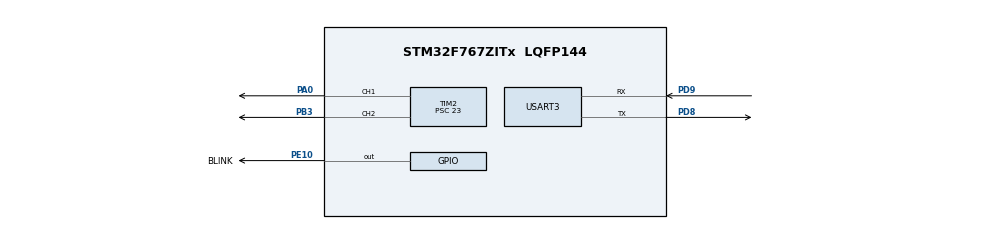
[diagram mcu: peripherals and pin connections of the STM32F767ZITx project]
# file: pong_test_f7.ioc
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Dma.Request0=USART3_RX
Dma.Request1=USART3_TX
Dma.USART3_RX.0.Direction=DMA_PERIPH_TO_MEMORY
Dma.USART3_RX.0.FIFOMode=DMA_FIFOMODE_DISABLE
Dma.USART3_RX.0.Instance=DMA1_Stream1
Dma.USART3_RX.0.MemDataAlignment=DMA_MDATAALIGN_BYTE
Dma.USART3_RX.0.MemInc=DMA_MINC_ENABLE
Dma.USART3_RX.0.Mode=DMA_CIRCULAR
Dma.USART3_RX.0.PeriphDataAlignment=DMA_PDATAALIGN_BYTE
Dma.USART3_RX.0.PeriphInc=DMA_PINC_DISABLE
Dma.USART3_RX.0.Priority=DMA_PRIORITY_VERY_HIGH
Dma.USART3_TX.1.Direction=DMA_MEMORY_TO_PERIPH
Dma.USART3_TX.1.FIFOMode=DMA_FIFOMODE_DISABLE
Dma.USART3_TX.1.Instance=DMA1_Stream3
Dma.USART3_TX.1.MemDataAlignment=DMA_MDATAALIGN_BYTE
Dma.USART3_TX.1.MemInc=DMA_MINC_ENABLE
Dma.USART3_TX.1.Mode=DMA_NORMAL
Dma.USART3_TX.1.PeriphDataAlignment=DMA_PDATAALIGN_BYTE
Dma.USART3_TX.1.PeriphInc=DMA_PINC_DISABLE
Dma.USART3_TX.1.Priority=DMA_PRIORITY_VERY_HIGH
FREERTOS.Tasks01=defaultTask,24,800,StartDefaultTask,Default,NULL,Dynamic,NULL,NULL;lowTask,16,128,StartLowTask,Default,NULL,Dynamic,NULL,NULL;idleTask,8,128,StartIdleTask,Default,NULL,Dynamic,NULL,NULL
FREERTOS.configUSE_NEWLIB_REENTRANT=1
Mcu.Family=STM32F7
Mcu.Name=STM32F767ZITx
Mcu.Package=LQFP144
NVIC.DMA1_Stream1_IRQn=true\:5\:0\:false\:false\:true\:true\:false\:true
NVIC.DMA1_Stream3_IRQn=true\:5\:0\:false\:false\:true\:true\:false\:true
NVIC.PriorityGroup=NVIC_PRIORITYGROUP_4
NVIC.TIM7_IRQn=true\:15\:0\:false\:false\:true\:false\:false\:true
NVIC.TimeBase=TIM7_IRQn
NVIC.TimeBaseIP=TIM7
NVIC.USART3_IRQn=true\:5\:0\:false\:false\:true\:true\:true\:true
PA0/WKUP.Signal=S_TIM2_CH1_ETR
PB3.Signal=S_TIM2_CH2
PD8.Mode=Asynchronous
PD8.Signal=USART3_TX
PD9.Mode=Asynchronous
PD9.Signal=USART3_RX
PE10.GPIO_Label=BLINK
PE10.Signal=GPIO_Output
ProjectManager.HeapSize=0x200
ProjectManager.StackSize=0x400
ProjectManager.TargetToolchain=STM32CubeIDE
RCC.HSE_VALUE=25000000
RCC.HSI_VALUE=16000000
RCC.LSE_VALUE=32768
RCC.USBFreq_Value=96000000
RCC.VCOOutputFreq_Value=192000000
SH.S_TIM2_CH1_ETR.0=TIM2_CH1,PWM Generation1 CH1
SH.S_TIM2_CH2.0=TIM2_CH2,PWM Generation2 CH2
TIM2.Channel-PWM\ Generation1\ CH1=TIM_CHANNEL_1
TIM2.Channel-PWM\ Generation2\ CH2=TIM_CHANNEL_2
TIM2.Period=60000
TIM2.Prescaler=23
TIM2.Pulse-PWM\ Generation1\ CH1=2000
TIM2.Pulse-PWM\ Generation2\ CH2=2000
USART3.VirtualMode-Asynchronous=VM_ASYNC
VP_FREERTOS_VS_CMSIS_V2.Mode=CMSIS_V2
VP_SYS_VS_tim7.Mode=TIM7
VP_TIM2_VS_ClockSourceINT.Mode=Internal
board=custom

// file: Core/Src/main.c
/* USER CODE BEGIN Header */
/**
 ******************************************************************************
 * @file           : main.c
 * @brief          : Main program body
 ******************************************************************************
 * @attention
 *
 * <h2><center>&copy; Copyright (c) 2022 STMicroelectronics.
 * All rights reserved.</center></h2>
 *
 * This software component is licensed by ST under BSD 3-Clause license,
 * the "License"; You may not use this file except in compliance with the
 * License. You may obtain a copy of the License at:
 *                        opensource.org/licenses/BSD-3-Clause
 *
 ******************************************************************************
 */
/* USER CODE END Header */
#include "main.h"

#include "cmsis_os.h"

/* USER CODE BEGIN Includes */
#include <math.h>
#include <rcl/error_handling.h>
#include <rcl/rcl.h>
#include <rclc/executor.h>
#include <rclc/rclc.h>
#include <rmw_microros/rmw_microros.h>
#include <rmw_microxrcedds_c/config.h>
#include <std_msgs/msg/header.h>
#include <stdbool.h>
#include <stdio.h>
#include <string.h>
#include <time.h>
#include <unistd.h>
#include <uxr/client/transport.h>

#include "FreeRTOS.h"
#include "servo.h"
#include "task.h"
/* USER CODE END Includes */

/* USER CODE BEGIN PD */
#define STRING_BUFFER_LEN 50
#define DUTY_MAX 60000
#define FREQ_MS 80

#define RCCHECK(fn)                                                                      \
    {                                                                                    \
        rcl_ret_t temp_rc = fn;                                                          \
        if ((temp_rc != RCL_RET_OK)) {                                                   \
            printf("Failed status on line %d: %d. Aborting.\n", __LINE__, (int)temp_rc); \
            vTaskDelete(NULL);                                                           \
        }                                                                                \
    }
#define RCSOFTCHECK(fn)                                                                    \
    {                                                                                      \
        rcl_ret_t temp_rc = fn;                                                            \
        if ((temp_rc != RCL_RET_OK)) {                                                     \
            printf("Failed status on line %d: %d. Continuing.\n", __LINE__, (int)temp_rc); \
        }                                                                                  \
    }
/* USER CODE END PD */

TIM_HandleTypeDef htim2;

UART_HandleTypeDef huart3;
DMA_HandleTypeDef hdma_usart3_rx;
DMA_HandleTypeDef hdma_usart3_tx;

/* Definitions for defaultTask */
osThreadId_t defaultTaskHandle;
const osThreadAttr_t defaultTask_attributes = {
    .name = "defaultTask",
    .stack_size = 800 * 4,
    .priority = (osPriority_t)osPriorityNormal,
};
/* Definitions for lowTask */
osThreadId_t lowTaskHandle;
const osThreadAttr_t lowTask_attributes = {
    .name = "lowTask",
    .stack_size = 128 * 4,
    .priority = (osPriority_t)osPriorityBelowNormal,
};
/* Definitions for idleTask */
osThreadId_t idleTaskHandle;
const osThreadAttr_t idleTask_attributes = {
    .name = "idleTask",
    .stack_size = 128 * 4,
    .priority = (osPriority_t)osPriorityLow,
};

void SystemClock_Config(void);
static void MX_GPIO_Init(void);
static void MX_DMA_Init(void);
static void MX_USART3_UART_Init(void);
static void MX_TIM2_Init(void);
void StartDefaultTask(void *argument);
void StartLowTask(void *argument);
void StartIdleTask(void *argument);

/* USER CODE BEGIN 0 */
/*
int _write(int file, char *data, int len) {
    if ((file != 1) && (file != 2)) {  // STDOUT_FILENO, STDERR_FILENO
        return -1;
    }

    // arbitrary timeout 1000
    HAL_StatusTypeDef status = HAL_UART_Transmit(&huart3, (uint8_t *)data, len, 1000);

    // return # of bytes written - as best we can tell
    return (status == HAL_OK ? len : 0);
}
*/
/* USER CODE END 0 */

int main(void) {

    /* MCU Configuration--------------------------------------------------------*/

    /* Reset of all peripherals, Initializes the Flash interface and the Systick. */
    HAL_Init();

    /* Configure the system clock */
    SystemClock_Config();

    /* USER CODE BEGIN SysInit */
#ifdef CONFIG_PERCEPIO_TRACERECORDER_ENABLED
    // vTraceEnable(TRC_START);
    vTraceEnable(TRC_INIT);
#endif
    /* USER CODE END SysInit */

    /* Initialize all configured peripherals */
    MX_GPIO_Init();
    MX_DMA_Init();
    MX_USART3_UART_Init();
    MX_TIM2_Init();

    /* Init scheduler */
    osKernelInitialize();

    /* Create the thread(s) */
    /* creation of defaultTask */
    defaultTaskHandle = osThreadNew(StartDefaultTask, NULL, &defaultTask_attributes);

    /* creation of lowTask */
    lowTaskHandle = osThreadNew(StartLowTask, NULL, &lowTask_attributes);

    /* creation of idleTask */
    idleTaskHandle = osThreadNew(StartIdleTask, NULL, &idleTask_attributes);

    /* Start scheduler */
    osKernelStart();

    /* We should never get here as control is now taken by the scheduler */
    /* Infinite loop */
    while (1) {

    }
}

void SystemClock_Config(void) {
    RCC_OscInitTypeDef RCC_OscInitStruct = {0};
    RCC_ClkInitTypeDef RCC_ClkInitStruct = {0};

    /** Configure the main internal regulator output voltage
     */
    __HAL_RCC_PWR_CLK_ENABLE();
    __HAL_PWR_VOLTAGESCALING_CONFIG(PWR_REGULATOR_VOLTAGE_SCALE3);
    /** Initializes the RCC Oscillators according to the specified parameters
     * in the RCC_OscInitTypeDef structure.
     */
    RCC_OscInitStruct.OscillatorType = RCC_OSCILLATORTYPE_HSI;
    RCC_OscInitStruct.HSIState = RCC_HSI_ON;
    RCC_OscInitStruct.HSICalibrationValue = RCC_HSICALIBRATION_DEFAULT;
    RCC_OscInitStruct.PLL.PLLState = RCC_PLL_NONE;
    if (HAL_RCC_OscConfig(&RCC_OscInitStruct) != HAL_OK) {
        Error_Handler();
    }
    /** Initializes the CPU, AHB and APB buses clocks
     */
    RCC_ClkInitStruct.ClockType = RCC_CLOCKTYPE_HCLK | RCC_CLOCKTYPE_SYSCLK | RCC_CLOCKTYPE_PCLK1 | RCC_CLOCKTYPE_PCLK2;
    RCC_ClkInitStruct.SYSCLKSource = RCC_SYSCLKSOURCE_HSI;
    RCC_ClkInitStruct.AHBCLKDivider = RCC_SYSCLK_DIV1;
    RCC_ClkInitStruct.APB1CLKDivider = RCC_HCLK_DIV1;
    RCC_ClkInitStruct.APB2CLKDivider = RCC_HCLK_DIV1;

    if (HAL_RCC_ClockConfig(&RCC_ClkInitStruct, FLASH_LATENCY_0) != HAL_OK) {
        Error_Handler();
    }
}

static void MX_TIM2_Init(void) {

    TIM_ClockConfigTypeDef sClockSourceConfig = {0};
    TIM_MasterConfigTypeDef sMasterConfig = {0};
    TIM_OC_InitTypeDef sConfigOC = {0};

    htim2.Instance = TIM2;
    htim2.Init.Prescaler = 23;
    htim2.Init.CounterMode = TIM_COUNTERMODE_UP;
    htim2.Init.Period = 60000;
    htim2.Init.ClockDivision = TIM_CLOCKDIVISION_DIV1;
    htim2.Init.AutoReloadPreload = TIM_AUTORELOAD_PRELOAD_DISABLE;
    if (HAL_TIM_Base_Init(&htim2) != HAL_OK) {
        Error_Handler();
    }
    sClockSourceConfig.ClockSource = TIM_CLOCKSOURCE_INTERNAL;
    if (HAL_TIM_ConfigClockSource(&htim2, &sClockSourceConfig) != HAL_OK) {
        Error_Handler();
    }
    if (HAL_TIM_PWM_Init(&htim2) != HAL_OK) {
        Error_Handler();
    }
    sMasterConfig.MasterOutputTrigger = TIM_TRGO_RESET;
    sMasterConfig.MasterSlaveMode = TIM_MASTERSLAVEMODE_DISABLE;
    if (HAL_TIMEx_MasterConfigSynchronization(&htim2, &sMasterConfig) != HAL_OK) {
        Error_Handler();
    }
    sConfigOC.OCMode = TIM_OCMODE_PWM1;
    sConfigOC.Pulse = 2000;
    sConfigOC.OCPolarity = TIM_OCPOLARITY_HIGH;
    sConfigOC.OCFastMode = TIM_OCFAST_DISABLE;
    if (HAL_TIM_PWM_ConfigChannel(&htim2, &sConfigOC, TIM_CHANNEL_1) != HAL_OK) {
        Error_Handler();
    }
    if (HAL_TIM_PWM_ConfigChannel(&htim2, &sConfigOC, TIM_CHANNEL_2) != HAL_OK) {
        Error_Handler();
    }
    HAL_TIM_MspPostInit(&htim2);
}

static void MX_USART3_UART_Init(void) {

    huart3.Instance = USART3;
    huart3.Init.BaudRate = 115200;
    huart3.Init.WordLength = UART_WORDLENGTH_8B;
    huart3.Init.StopBits = UART_STOPBITS_1;
    huart3.Init.Parity = UART_PARITY_NONE;
    huart3.Init.Mode = UART_MODE_TX_RX;
    huart3.Init.HwFlowCtl = UART_HWCONTROL_NONE;
    huart3.Init.OverSampling = UART_OVERSAMPLING_16;
    huart3.Init.OneBitSampling = UART_ONE_BIT_SAMPLE_DISABLE;
    huart3.AdvancedInit.AdvFeatureInit = UART_ADVFEATURE_NO_INIT;
    if (HAL_UART_Init(&huart3) != HAL_OK) {
        Error_Handler();
    }
}

static void MX_DMA_Init(void) {
    /* DMA controller clock enable */
    __HAL_RCC_DMA1_CLK_ENABLE();

    /* DMA interrupt init */
    /* DMA1_Stream1_IRQn interrupt configuration */
    HAL_NVIC_SetPriority(DMA1_Stream1_IRQn, 5, 0);
    HAL_NVIC_EnableIRQ(DMA1_Stream1_IRQn);
    /* DMA1_Stream3_IRQn interrupt configuration */
    HAL_NVIC_SetPriority(DMA1_Stream3_IRQn, 5, 0);
    HAL_NVIC_EnableIRQ(DMA1_Stream3_IRQn);
}

static void MX_GPIO_Init(void) {
    GPIO_InitTypeDef GPIO_InitStruct = {0};

    /* GPIO Ports Clock Enable */
    __HAL_RCC_GPIOA_CLK_ENABLE();
    __HAL_RCC_GPIOE_CLK_ENABLE();
    __HAL_RCC_GPIOD_CLK_ENABLE();
    __HAL_RCC_GPIOB_CLK_ENABLE();

    /*Configure GPIO pin Output Level */
    HAL_GPIO_WritePin(BLINK_GPIO_Port, BLINK_Pin, GPIO_PIN_RESET);

    /*Configure GPIO pin : BLINK_Pin */
    GPIO_InitStruct.Pin = BLINK_Pin;
    GPIO_InitStruct.Mode = GPIO_MODE_OUTPUT_PP;
    GPIO_InitStruct.Pull = GPIO_NOPULL;
    GPIO_InitStruct.Speed = GPIO_SPEED_FREQ_LOW;
    HAL_GPIO_Init(BLINK_GPIO_Port, &GPIO_InitStruct);
}

/* USER CODE BEGIN 4 */
enum { NS_PER_SECOND = 1000000000 };

double sub_timespec(struct timespec t1, struct timespec t2) {
    double nsec = t1.tv_nsec - t2.tv_nsec;
    double sec = t1.tv_sec - t2.tv_sec;
    if (sec > 0 && nsec < 0) {
        nsec += NS_PER_SECOND;
        sec--;
    } else if (sec < 0 && nsec > 0) {
        nsec -= NS_PER_SECOND;
        sec++;
    }
    return sec + nsec;
}

rclc_support_t support;
rcl_allocator_t allocator;
rcl_node_t node;

rcl_subscription_t ping_sub;
rcl_publisher_t pong_pub;
rcl_subscription_t peng_sub;

std_msgs__msg__Header msg_header;

servo_t servo;
#define SERVO_MIN 800
#define SERVO_MAX 2200
#define ANGLE_MIN -90
#define ANGLE_MAX 90

int state;
#ifdef CONFIG_PERCEPIO_TRACERECORDER_ENABLED
traceString chnState;
#endif

struct timespec ts;

void ping_sub_callback(const void *msgin) {
    const std_msgs__msg__Header *msg = (const std_msgs__msg__Header *)msgin;

    int angle = atoi(msg->frame_id.data);
    Servo_SetAngle(&servo, angle);

    sprintf(msg_header.frame_id.data, "%s", msg->frame_id.data);
    msg_header.frame_id.size = strlen(msg_header.frame_id.data);

    clock_gettime(CLOCK_REALTIME, &ts);
    msg_header.stamp.sec = msg->stamp.sec;
    msg_header.stamp.nanosec = msg->stamp.nanosec;

    // printf("Ping data: %s\r\n", msg_header.frame_id.data);
    state = 1;
#ifdef CONFIG_PERCEPIO_TRACERECORDER_ENABLED
    vTracePrintF(chnState, "%d", state);
#endif
    // HAL_GPIO_WritePin(BLINK_GPIO_Port, BLINK_Pin, state);
    __HAL_TIM_SET_COMPARE(&htim2, TIM_CHANNEL_2, state * DUTY_MAX);
    RCCHECK(rcl_publish(&pong_pub, (const void *)&msg_header, NULL));
}

void peng_sub_callback(const void *msgin) {
    struct timespec currT;
    clock_gettime(CLOCK_REALTIME, &currT);

    const std_msgs__msg__Header *msg = (const std_msgs__msg__Header *)msgin;
    if (msg_header.stamp.sec == msg->stamp.sec && msg_header.stamp.nanosec == msg->stamp.nanosec) {
        state = 0;
#ifdef CONFIG_PERCEPIO_TRACERECORDER_ENABLED
        vTracePrintF(chnState, "%d", state);
#endif
        // HAL_GPIO_WritePin(BLINK_GPIO_Port, BLINK_Pin, state);
        __HAL_TIM_SET_COMPARE(&htim2, TIM_CHANNEL_2, state * DUTY_MAX);

        double RTT = sub_timespec(currT, ts);
        // printf("Peng data: %s, RTT: %fs\r\n", msg->frame_id.data, RTT);
    } else {
        state = 0.5;
#ifdef CONFIG_PERCEPIO_TRACERECORDER_ENABLED
        vTracePrintF(chnState, "%d", state);
#endif
        // HAL_GPIO_WritePin(BLINK_GPIO_Port, BLINK_Pin, 0);
        __HAL_TIM_SET_COMPARE(&htim2, TIM_CHANNEL_2, state * DUTY_MAX);
    }
}
/* USER CODE END 4 */

/* USER CODE BEGIN Header_StartDefaultTask */
bool cubemx_transport_open(struct uxrCustomTransport *transport);
bool cubemx_transport_close(struct uxrCustomTransport *transport);
size_t cubemx_transport_write(struct uxrCustomTransport *transport, const uint8_t *buf, size_t len, uint8_t *err);
size_t cubemx_transport_read(struct uxrCustomTransport *transport, uint8_t *buf, size_t len, int timeout, uint8_t *err);

void *microros_allocate(size_t size, void *state);
void microros_deallocate(void *pointer, void *state);
void *microros_reallocate(void *pointer, size_t size, void *state);
void *microros_zero_allocate(size_t number_of_elements, size_t size_of_element, void *state);
/**
 * @brief  Function implementing the defaultTask thread.
 * @param  argument: Not used
 * @retval None
 */
/* USER CODE END Header_StartDefaultTask */
void StartDefaultTask(void *argument) {
    /* USER CODE BEGIN 5 */
    clock_gettime(CLOCK_REALTIME, &ts);

    Servo_Init(&servo, &htim2, TIM_CHANNEL_1);
    HAL_TIM_PWM_Start(&htim2, TIM_CHANNEL_2);

#ifdef CONFIG_PERCEPIO_TRACERECORDER_ENABLED
    chnState = xTraceRegisterString("state");
#endif

    // micro-ROS configuration

    rmw_uros_set_custom_transport(true, (void *)&huart3, cubemx_transport_open, cubemx_transport_close,
                                  cubemx_transport_write, cubemx_transport_read);

    rcl_allocator_t freeRTOS_allocator = rcutils_get_zero_initialized_allocator();
    freeRTOS_allocator.allocate = microros_allocate;
    freeRTOS_allocator.deallocate = microros_deallocate;
    freeRTOS_allocator.reallocate = microros_reallocate;
    freeRTOS_allocator.zero_allocate = microros_zero_allocate;

    if (!rcutils_set_default_allocator(&freeRTOS_allocator)) {
        // printf("Error on default allocators (line %d)\n", __LINE__);
    }

    // micro-ROS app
    while (RMW_RET_OK != rmw_uros_ping_agent(1000, 1))
        ;

    allocator = rcl_get_default_allocator();

    // create init_options
    rcl_init_options_t init_options = rcl_get_zero_initialized_init_options();
    RCCHECK(rcl_init_options_init(&init_options, allocator));
    size_t domain_id = (size_t)50;
    rcl_init_options_set_domain_id(&init_options, domain_id);
    RCCHECK(rclc_support_init_with_options(&support, 0, NULL, &init_options, &allocator));
    // RCCHECK(rclc_support_init(&support, 0, NULL, &allocator));

    rclc_node_init_default(&node, "pong_f7_node", "", &support);

    const rosidl_message_type_support_t *type_support = ROSIDL_GET_MSG_TYPE_SUPPORT(std_msgs, msg, Header);
    RCCHECK(rclc_subscription_init_best_effort(&ping_sub, &node, type_support, "/ros2/ping"));
    RCCHECK(rclc_publisher_init_best_effort(&pong_pub, &node, type_support, "/mros/pong"));
    RCCHECK(rclc_subscription_init_best_effort(&peng_sub, &node, type_support, "/ros2/peng"));

    // Create executor
    rclc_executor_t executor;
    RCCHECK(rclc_executor_init(&executor, &support.context, 2, &allocator));
    RCCHECK(rclc_executor_add_subscription(&executor, &ping_sub, &msg_header, &ping_sub_callback, ON_NEW_DATA));
    RCCHECK(rclc_executor_add_subscription(&executor, &peng_sub, &msg_header, &peng_sub_callback, ON_NEW_DATA));

    // Create and allocate the pingpong messages
    msg_header.frame_id.data = (char *)malloc(sizeof(char) * STRING_BUFFER_LEN);
    msg_header.frame_id.size = 0;
    msg_header.frame_id.capacity = STRING_BUFFER_LEN;

    /* Infinite loop */
    for (;;) {
        rclc_executor_spin_some(&executor, RCL_MS_TO_NS(FREQ_MS / 2));
        osDelay(FREQ_MS / 2);
    }

    // free resources
    RCCHECK(rcl_subscription_fini(&ping_sub, &node));
    RCCHECK(rcl_publisher_fini(&pong_pub, &node));
    RCCHECK(rcl_subscription_fini(&peng_sub, &node));
    RCCHECK(rcl_node_fini(&node));

    vTaskDelete(NULL);
    /* USER CODE END 5 */
}

void StartLowTask(void *argument) {
    /* USER CODE BEGIN StartLowTask */
    // traceString chnLow = xTraceRegisterString("Low");;
    // bool lowOn = false;
    /* Infinite loop */
    for (;;) {
        // lowOn = true;
        // vTracePrintF(chnLow, "%d", lowOn);
        for (int i = 0; i < 3000; i++)
            ;
        // lowOn = false;
        // vTracePrintF(chnLow, "%d", lowOn);
        osDelay(777);
    }
    /* USER CODE END StartLowTask */
}

void StartIdleTask(void *argument) {
    /* USER CODE BEGIN StartIdleTask */
    // traceString chnIdle = xTraceRegisterString("Idle");;
    // bool idleOn = false;
    /* Infinite loop */
    for (;;) {
        // idleOn = true;
        // vTracePrintF(chnIdle, "%d", idleOn);
        // idleOn = false;
        // vTracePrintF(chnIdle, "%d", idleOn);
        osDelay(1234);
    }
    /* USER CODE END StartIdleTask */
}

void HAL_TIM_PeriodElapsedCallback(TIM_HandleTypeDef *htim) {
    if (htim->Instance == TIM7) {
        HAL_IncTick();
    }
}

void Error_Handler(void) {
    __disable_irq();
    while (1) {
    }
}
